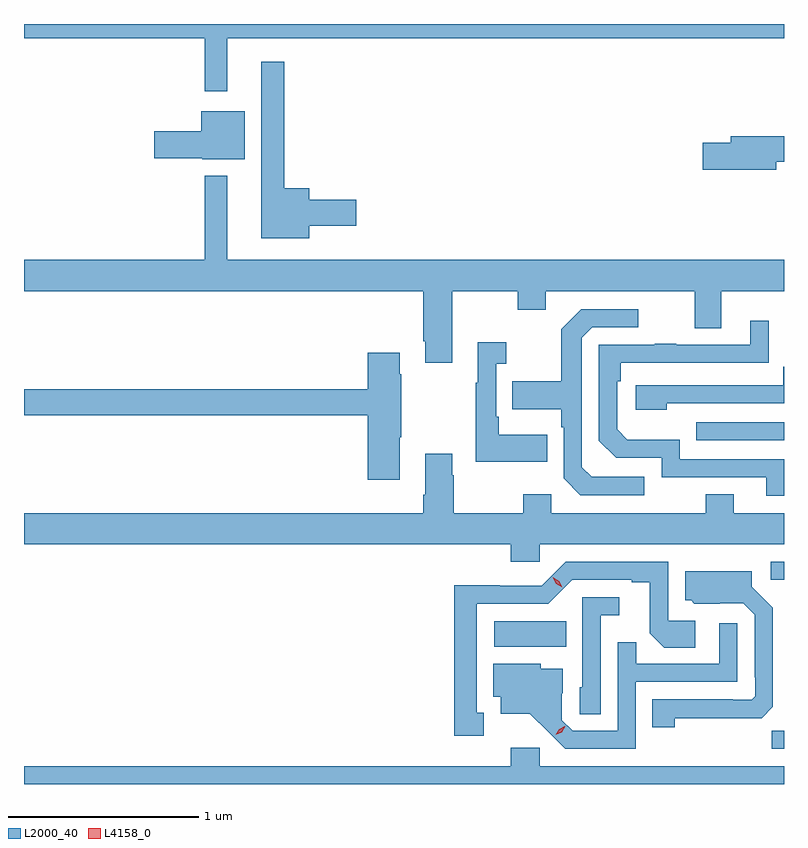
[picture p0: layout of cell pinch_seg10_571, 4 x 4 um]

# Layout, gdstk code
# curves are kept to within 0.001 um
import gdstk
lib = gdstk.Library(unit=1e-6, precision=1e-09)
def R(c, l, rs):  # rectangles x0, y0, x1, y1
    for r in rs: c.add(gdstk.rectangle(r[:2], r[2:], *l))
def P(c, l, *ps):  # polygons
    for p in ps: c.add(gdstk.Polygon(p, *l))
L2000_40 = (2000, 40)
L4158_0 = (4158, 0)

pinch_seg10_571 = lib.new_cell('pinch_seg10_571')
R(pinch_seg10_571, L2000_40, [(293.794,1279.26,293.858,1279.355), (292.332,1279.796,292.712,1279.93), (293.787,1280.148,293.858,1280.244), (293.395,1280.883,293.858,1280.979)])
P(pinch_seg10_571, L2000_40, [(290.929,1283),(293.858,1283),(293.858,1283.074),(289.858,1283.074),(289.858,1283),(290.808,1283),(290.808,1282.719),(290.929,1282.719)],
  [(291.358,1282.013),(291.607,1282.013),(291.607,1282.148),(291.358,1282.148),(291.358,1282.21),(291.229,1282.21),(291.229,1282.876),(291.107,1282.876),(291.107,1281.947),(291.358,1281.947)],
  [(291.019,1282.615),(290.792,1282.615),(290.792,1282.509),(290.544,1282.509),(290.544,1282.367),(290.796,1282.367),(290.796,1282.361),(291.019,1282.361)],
  [(293.818,1282.348),(293.858,1282.348),(293.858,1282.484),(293.579,1282.484),(293.579,1282.448),(293.43,1282.448),(293.43,1282.306),(293.818,1282.306)],
  [(292.111,1281.668),(292.456,1281.668),(292.456,1281.569),(292.603,1281.569),(292.603,1281.668),(293.387,1281.668),(293.387,1281.474),(293.527,1281.474),(293.527,1281.668),(293.858,1281.668),(293.858,1281.832),(290.929,1281.832),(290.929,1282.276),(290.808,1282.276),(290.808,1281.832),(289.858,1281.832),(289.858,1281.668),(291.959,1281.668),(291.959,1281.403),(291.971,1281.403),(291.971,1281.291),(292.111,1281.291)],
  [(293.122,1280.691),(292.845,1280.691),(292.794,1280.742),(292.794,1281.423),(292.848,1281.477),(293.092,1281.477),(293.092,1281.573),(292.791,1281.573),(292.686,1281.467),(292.686,1281.195),(292.429,1281.195),(292.429,1281.047),(292.686,1281.047),(292.686,1280.951),(292.698,1280.951),(292.698,1280.682),(292.785,1280.595),(293.122,1280.595)],
  [(293.858,1280.784),(293.31,1280.784),(293.31,1280.887),(293.033,1280.887),(292.98,1280.94),(292.98,1281.194),(293,1281.194),(293,1281.291),(293.777,1281.292),(293.777,1281.511),(293.681,1281.511),(293.681,1281.387),(293.291,1281.387),(293.291,1281.392),(293.179,1281.392),(293.179,1281.387),(292.884,1281.387),(292.884,1280.88),(292.974,1280.79),(293.214,1280.79),(293.214,1280.688),(293.765,1280.688),(293.765,1280.592),(293.858,1280.592)],
  [(292.613,1280.911),(292.357,1280.911),(292.357,1281.007),(292.344,1281.007),(292.344,1281.287),(292.396,1281.287),(292.396,1281.4),(292.247,1281.4),(292.247,1281.187),(292.236,1281.187),(292.236,1280.771),(292.613,1280.771)],
  [(291.835,1280.899),(291.843,1280.899),(291.843,1281.23),(291.835,1281.23),(291.835,1281.343),(291.668,1281.343),(291.668,1281.152),(289.858,1281.152),(289.858,1281.016),(291.668,1281.016),(291.668,1280.676),(291.835,1280.676)],
  [(293.24,1281.078),(293.858,1281.078),(293.858,1281.271),(293.855,1281.271),(293.855,1281.174),(293.079,1281.174),(293.079,1281.044),(293.24,1281.044)],
  [(292.572,1280.336),(293.858,1280.336),(293.858,1280.5),(293.593,1280.5),(293.593,1280.599),(293.446,1280.599),(293.446,1280.5),(292.632,1280.5),(292.632,1280.599),(292.486,1280.599),(292.486,1280.5),(292.119,1280.5),(292.119,1280.699),(292.111,1280.699),(292.111,1280.812),(291.971,1280.812),(291.971,1280.596),(291.959,1280.596),(291.959,1280.5),(289.858,1280.5),(289.858,1280.336),(292.421,1280.336),(292.421,1280.243),(292.572,1280.243)],
  [(292.279,1279.449),(292.24,1279.449),(292.24,1280.022),(292.617,1280.022),(292.743,1280.148),(293.057,1280.148),(293.057,1280.136),(293.151,1280.136),(293.151,1279.868),(293.227,1279.792),(293.392,1279.792),(293.392,1279.932),(293.25,1279.932),(293.25,1280.244),(292.71,1280.244),(292.584,1280.118),(292.362,1280.118),(292.362,1280.12),(292.122,1280.12),(292.122,1279.329),(292.279,1279.329)],
  [(293.283,1279.42),(293.74,1279.421),(293.799,1279.48),(293.799,1280.002),(293.689,1280.112),(293.689,1280.194),(293.339,1280.194),(293.339,1280.04),(293.37,1280.04),(293.386,1280.024),(293.643,1280.025),(293.703,1279.965),(293.703,1279.636),(293.706,1279.636),(293.706,1279.536),(293.688,1279.518),(293.588,1279.518),(293.588,1279.521),(293.164,1279.521),(293.164,1279.374),(293.283,1279.374)],
  [(292.893,1279.961),(292.99,1279.961),(292.99,1280.058),(292.797,1280.058),(292.797,1279.584),(292.782,1279.584),(292.782,1279.441),(292.893,1279.441)],
  [(293.079,1279.611),(293.613,1279.611),(293.613,1279.921),(293.517,1279.921),(293.517,1279.707),(293.081,1279.707),(293.081,1279.82),(292.983,1279.82),(292.983,1279.353),(292.746,1279.353),(292.689,1279.41),(292.689,1279.552),(292.693,1279.552),(292.693,1279.681),(292.578,1279.681),(292.578,1279.708),(292.328,1279.708),(292.328,1279.532),(292.367,1279.532),(292.367,1279.445),(292.519,1279.445),(292.706,1279.26),(293.079,1279.26)],
  [(293.858,1279.168),(292.572,1279.168),(292.572,1279.264),(292.421,1279.264),(292.421,1279.168),(289.858,1279.168),(289.858,1279.074),(293.858,1279.074)])
P(pinch_seg10_571, L4158_0, [(292.656,1279.332),(292.656,1279.333),(292.674,1279.362),(292.705,1279.377),(292.706,1279.377),(292.706,1279.377),(292.688,1279.347),(292.657,1279.332)],
  [(292.69,1280.109),(292.659,1280.128),(292.642,1280.161),(292.642,1280.162),(292.642,1280.162),(292.674,1280.142),(292.691,1280.109),(292.691,1280.109)])

lib.write_gds('pinch_seg10_571.gds')
